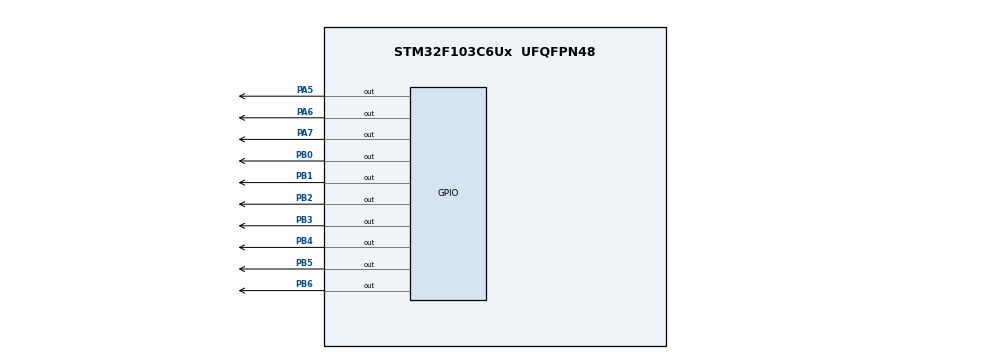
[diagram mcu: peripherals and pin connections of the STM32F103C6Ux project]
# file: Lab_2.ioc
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Mcu.Family=STM32F1
Mcu.Name=STM32F103C6Ux
Mcu.Package=UFQFPN48
NVIC.PriorityGroup=NVIC_PRIORITYGROUP_4
NVIC.TIM2_IRQn=true\:0\:0\:false\:false\:true\:true\:true\:true
PA5.Signal=GPIO_Output
PA6.Signal=GPIO_Output
PA7.Signal=GPIO_Output
PB0.Signal=GPIO_Output
PB1.Signal=GPIO_Output
PB2.Signal=GPIO_Output
PB3.Signal=GPIO_Output
PB4.Signal=GPIO_Output
PB5.Signal=GPIO_Output
PB6.Signal=GPIO_Output
ProjectManager.HeapSize=0x200
ProjectManager.StackSize=0x400
ProjectManager.TargetToolchain=STM32CubeIDE
RCC.APB1Freq_Value=8000000
RCC.APB2Freq_Value=8000000
TIM2.Period=9
TIM2.Prescaler=7999
VP_TIM2_VS_ClockSourceINT.Mode=Internal
board=custom

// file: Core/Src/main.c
/* USER CODE BEGIN Header */
/**
  ******************************************************************************
  * @file           : main.c
  * @brief          : Main program body
  ******************************************************************************
  * @attention
  *
  * Copyright (c) 2023 STMicroelectronics.
  * All rights reserved.
  *
  * This software is licensed under terms that can be found in the LICENSE file
  * in the root directory of this software component.
  * If no LICENSE file comes with this software, it is provided AS-IS.
  *
  ******************************************************************************
  */
/* USER CODE END Header */
#include "main.h"

TIM_HandleTypeDef htim2;
int timer0_counter = 0;
int timer0_flag = 0;
int TIMER_CYCLE = 10;
const int MAX_SIZE = 4;
int index_led = 0;
int led_buffer[4] = {1,2,3,4};
const int MAX_LED_MATRIX = 8;
int index_led_matrix = 0;
uint8_t matrix_buffer[8] = {
		0b00001100,
		0b00011110,
		0b00110011,
		0b00110011,
		0b00111111,
		0b00110011,
		0b00110011,
		0b00000000};

void SystemClock_Config(void);
static void MX_GPIO_Init(void);
static void MX_TIM2_Init(void);
void display7SEG(int num);
void update7SEG(int index);
void updateLEDMatrix(int index);
void displayLEDMatrix(int col);
void animationLEDMatrix(int col, int shift_step);
void updateClockBuffer(int hour, int minute);
void setTimer0(int duration);
void timer_run();

int main(void)
{

  /* MCU Configuration--------------------------------------------------------*/

  /* Reset of all peripherals, Initializes the Flash interface and the Systick. */
  HAL_Init();

  /* Configure the system clock */
  SystemClock_Config();

  /* Initialize all configured peripherals */
  MX_GPIO_Init();
  HAL_GPIO_WritePin(GPIOA, GPIO_PIN_6, SET);
  HAL_GPIO_WritePin(GPIOA, GPIO_PIN_7, SET);
  MX_TIM2_Init();
  /* USER CODE BEGIN 2 */
  HAL_TIM_Base_Start_IT(&htim2);
  /* USER CODE END 2 */
  int hour = 15, minute = 8, second = 50;
  int counter = 25;
  int counter_LED = 100;
  int counter_LED_Matrix = 5;
  int status = 0;
  int matrix_status = 0;
  int shift_step = 0;
  /* Infinite loop */
  /* USER CODE BEGIN WHILE */
  setTimer0(10);
  HAL_GPIO_WritePin(GPIOA, GPIO_PIN_2, SET);
  HAL_GPIO_WritePin(GPIOB, GPIO_PIN_8, RESET);
  while (1)
  {
    /* USER CODE END WHILE */
    /* USER CODE BEGIN 3 */
	  if(timer0_flag == 1){
		  counter--;
		  counter_LED--;
		  counter_LED_Matrix--;
		  if(counter_LED <= 0){
			  counter_LED = 100;
			  HAL_GPIO_TogglePin(GPIOA, GPIO_PIN_4);
			  second++;
			  if(second >= 60){
				  second = 0;
				  minute++;
			  }
			  if(minute >= 60){
				  minute = 0;
				  hour++;
			  }
			  if(hour >= 24){
				  hour = 0;
			  }
			  updateClockBuffer(hour, minute);
		  }

		  if(counter <= 0){
			  counter = 25;
			  HAL_GPIO_TogglePin(GPIOA, GPIO_PIN_5);
			  HAL_GPIO_WritePin(GPIOA, GPIO_PIN_6 | GPIO_PIN_7 | GPIO_PIN_8 | GPIO_PIN_9, SET);
			  if(status > 3) status = 0;
			  update7SEG(status);
			  status++;
		  }
		  if(counter_LED_Matrix <= 0){
			  counter_LED_Matrix = 10;
			  HAL_GPIO_WritePin(GPIOB, GPIO_PIN_8 | GPIO_PIN_9 | GPIO_PIN_10 | GPIO_PIN_11|
					  GPIO_PIN_12 | GPIO_PIN_13 | GPIO_PIN_14 | GPIO_PIN_15, SET);
			if(matrix_status > 7){
				matrix_status = 0;
				shift_step++;
				if(shift_step > 7) shift_step = 0;
			}
			animationLEDMatrix(matrix_buffer[matrix_status], shift_step);
			updateLEDMatrix(matrix_status);
			matrix_status++;
		  }

		  setTimer0(10);
	  }
  }
  /* USER CODE END 3 */
}

void SystemClock_Config(void)
{
  RCC_OscInitTypeDef RCC_OscInitStruct = {0};
  RCC_ClkInitTypeDef RCC_ClkInitStruct = {0};

  /** Initializes the RCC Oscillators according to the specified parameters
  * in the RCC_OscInitTypeDef structure.
  */
  RCC_OscInitStruct.OscillatorType = RCC_OSCILLATORTYPE_HSI;
  RCC_OscInitStruct.HSIState = RCC_HSI_ON;
  RCC_OscInitStruct.HSICalibrationValue = RCC_HSICALIBRATION_DEFAULT;
  RCC_OscInitStruct.PLL.PLLState = RCC_PLL_NONE;
  if (HAL_RCC_OscConfig(&RCC_OscInitStruct) != HAL_OK)
  {
    Error_Handler();
  }

  /** Initializes the CPU, AHB and APB buses clocks
  */
  RCC_ClkInitStruct.ClockType = RCC_CLOCKTYPE_HCLK|RCC_CLOCKTYPE_SYSCLK
                              |RCC_CLOCKTYPE_PCLK1|RCC_CLOCKTYPE_PCLK2;
  RCC_ClkInitStruct.SYSCLKSource = RCC_SYSCLKSOURCE_HSI;
  RCC_ClkInitStruct.AHBCLKDivider = RCC_SYSCLK_DIV1;
  RCC_ClkInitStruct.APB1CLKDivider = RCC_HCLK_DIV1;
  RCC_ClkInitStruct.APB2CLKDivider = RCC_HCLK_DIV1;

  if (HAL_RCC_ClockConfig(&RCC_ClkInitStruct, FLASH_LATENCY_0) != HAL_OK)
  {
    Error_Handler();
  }
}

static void MX_TIM2_Init(void)
{

  TIM_ClockConfigTypeDef sClockSourceConfig = {0};
  TIM_MasterConfigTypeDef sMasterConfig = {0};

  htim2.Instance = TIM2;
  htim2.Init.Prescaler = 7999;
  htim2.Init.CounterMode = TIM_COUNTERMODE_UP;
  htim2.Init.Period = 9;
  htim2.Init.ClockDivision = TIM_CLOCKDIVISION_DIV1;
  htim2.Init.AutoReloadPreload = TIM_AUTORELOAD_PRELOAD_DISABLE;
  if (HAL_TIM_Base_Init(&htim2) != HAL_OK)
  {
    Error_Handler();
  }
  sClockSourceConfig.ClockSource = TIM_CLOCKSOURCE_INTERNAL;
  if (HAL_TIM_ConfigClockSource(&htim2, &sClockSourceConfig) != HAL_OK)
  {
    Error_Handler();
  }
  sMasterConfig.MasterOutputTrigger = TIM_TRGO_RESET;
  sMasterConfig.MasterSlaveMode = TIM_MASTERSLAVEMODE_DISABLE;
  if (HAL_TIMEx_MasterConfigSynchronization(&htim2, &sMasterConfig) != HAL_OK)
  {
    Error_Handler();
  }

}

static void MX_GPIO_Init(void)
{
  GPIO_InitTypeDef GPIO_InitStruct = {0};

  /* GPIO Ports Clock Enable */
  __HAL_RCC_GPIOA_CLK_ENABLE();
  __HAL_RCC_GPIOB_CLK_ENABLE();

  /*Configure GPIO pin Output Level */
  HAL_GPIO_WritePin(GPIOA, GPIO_PIN_All, GPIO_PIN_RESET);

  /*Configure GPIO pin Output Level */
  HAL_GPIO_WritePin(GPIOB, GPIO_PIN_All, GPIO_PIN_RESET);

  /*Configure GPIO pins : PA5 PA6 PA7 */
  GPIO_InitStruct.Pin = GPIO_PIN_All;
  GPIO_InitStruct.Mode = GPIO_MODE_OUTPUT_PP;
  GPIO_InitStruct.Pull = GPIO_NOPULL;
  GPIO_InitStruct.Speed = GPIO_SPEED_FREQ_LOW;
  HAL_GPIO_Init(GPIOA, &GPIO_InitStruct);

  /*Configure GPIO pins : PB0 PB1 PB2 PB3
                           PB4 PB5 PB6 */
  GPIO_InitStruct.Pin = GPIO_PIN_All;
  GPIO_InitStruct.Mode = GPIO_MODE_OUTPUT_PP;
  GPIO_InitStruct.Pull = GPIO_NOPULL;
  GPIO_InitStruct.Speed = GPIO_SPEED_FREQ_LOW;
  HAL_GPIO_Init(GPIOB, &GPIO_InitStruct);

}

/* USER CODE BEGIN 4 */
void HAL_TIM_PeriodElapsedCallback(TIM_HandleTypeDef* htim)
{
	timer_run();
}

uint8_t LED[10] = {0x3F,		//decode for 0
				0x06, 			//decode for 1
				0x5B, 			//decode for 2
				0x4F, 			//decode for 3
				0x66, 			//decode for 4
				0x6D, 			//decode for 5
				0x7D, 			//decode for 6
				0x07, 			//decode for 7
				0x7F, 			//decode for 8
				0x6F};			//decode for 9

void display7SEG(int num){
	HAL_GPIO_WritePin(GPIOB, GPIO_PIN_0, !((LED[num]>>0)&0x01));
	HAL_GPIO_WritePin(GPIOB, GPIO_PIN_1, !((LED[num]>>1)&0x01));
	HAL_GPIO_WritePin(GPIOB, GPIO_PIN_2, !((LED[num]>>2)&0x01));
	HAL_GPIO_WritePin(GPIOB, GPIO_PIN_3, !((LED[num]>>3)&0x01));
	HAL_GPIO_WritePin(GPIOB, GPIO_PIN_4, !((LED[num]>>4)&0x01));
	HAL_GPIO_WritePin(GPIOB, GPIO_PIN_5, !((LED[num]>>5)&0x01));
	HAL_GPIO_WritePin(GPIOB, GPIO_PIN_6, !((LED[num]>>6)&0x01));
}
void animationLEDMatrix(int col, int shift_step){
	displayLEDMatrix(col << shift_step);
}

void update7SEG(int index){
	switch(index){
	case 0:
		HAL_GPIO_WritePin(GPIOA, GPIO_PIN_6, RESET);
		display7SEG(led_buffer[0]);
		break;
	case 1:
		HAL_GPIO_WritePin(GPIOA, GPIO_PIN_7, RESET);
		display7SEG(led_buffer[1]);
		break;
	case 2:
		HAL_GPIO_WritePin(GPIOA, GPIO_PIN_8, RESET);
		display7SEG(led_buffer[2]);
		break;
	case 3:
		HAL_GPIO_WritePin(GPIOA, GPIO_PIN_9, RESET);
		display7SEG(led_buffer[3]);
		break;
	}
}

void updateClockBuffer(int hour, int minute){
	led_buffer[0] = hour/10;
	led_buffer[1] = hour%10;
	led_buffer[2] = minute/10;
	led_buffer[3] = minute%10;
}
//matrix_buffer
void setTimer0(int duration){
	timer0_counter = duration / TIMER_CYCLE;
	timer0_flag = 0;
}
void timer_run(){
	if(timer0_counter > 0){
		timer0_counter--;
		if(timer0_counter == 0) timer0_flag = 1;
	}
}

void displayLEDMatrix(int col){
	HAL_GPIO_WritePin(GPIOA, GPIO_PIN_2, !((col>>0)&0x01));
	HAL_GPIO_WritePin(GPIOA, GPIO_PIN_3, !((col>>1)&0x01));
	HAL_GPIO_WritePin(GPIOA, GPIO_PIN_10, !((col>>2)&0x01));
	HAL_GPIO_WritePin(GPIOA, GPIO_PIN_11, !((col>>3)&0x01));
	HAL_GPIO_WritePin(GPIOA, GPIO_PIN_12, !((col>>4)&0x01));
	HAL_GPIO_WritePin(GPIOA, GPIO_PIN_13, !((col>>5)&0x01));
	HAL_GPIO_WritePin(GPIOA, GPIO_PIN_14, !((col>>6)&0x01));
	HAL_GPIO_WritePin(GPIOA, GPIO_PIN_15, !((col>>7)&0x01));
}

void updateLEDMatrix(int index){
	switch(index){
	case 0:
		HAL_GPIO_WritePin(GPIOB, GPIO_PIN_8, RESET);
		break;
	case 1:
		HAL_GPIO_WritePin(GPIOB, GPIO_PIN_9, RESET);
		break;
	case 2:
		HAL_GPIO_WritePin(GPIOB, GPIO_PIN_10, RESET);
		break;
	case 3:
		HAL_GPIO_WritePin(GPIOB, GPIO_PIN_11, RESET);
		break;
	case 4:
		HAL_GPIO_WritePin(GPIOB, GPIO_PIN_12, RESET);
		break;
	case 5:
		HAL_GPIO_WritePin(GPIOB, GPIO_PIN_13, RESET);
		break;
	case 6:
		HAL_GPIO_WritePin(GPIOB, GPIO_PIN_14, RESET);
		break;
	case 7:
		HAL_GPIO_WritePin(GPIOB, GPIO_PIN_15, RESET);
		break;
	default:
		break;
	}
};

/* USER CODE END 4 */

void Error_Handler(void)
{
  __disable_irq();
  while (1)
  {
  }
}
